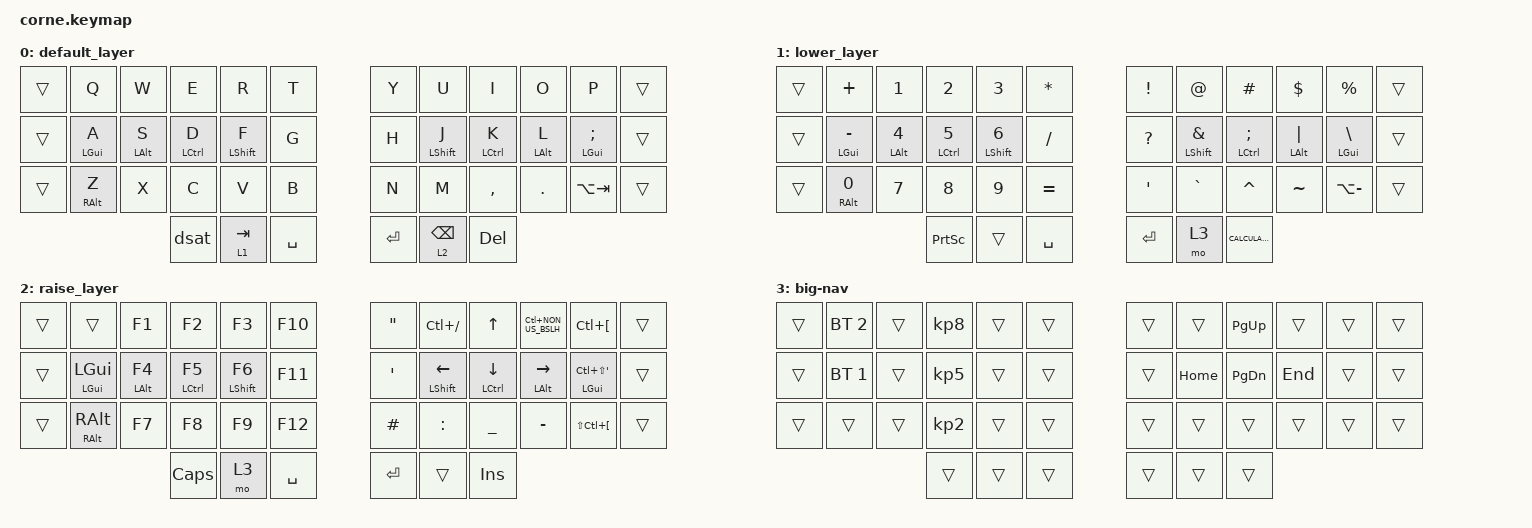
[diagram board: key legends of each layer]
/*
 * Copyright (c) 2020 The ZMK Contributors
 *
 * SPDX-License-Identifier: MIT
 */

#include <behaviors.dtsi>
#include <dt-bindings/zmk/bt.h>
#include <dt-bindings/zmk/keys.h>

/ {
    behaviors {
        hml: hml {
            compatible = "zmk,behavior-hold-tap";
            label = "HML";
            bindings = <&kp>, <&kp>;

            #binding-cells = <2>;
            tapping-term-ms = <280>;
            quick-tap-ms = <175>;
            require-prior-idle-ms = <75>;
            flavor = "balanced";
            hold-trigger-on-release;
            hold-trigger-key-positions = <6 7 8 9 10 11 18 19 20 21 22 23 30 31 32 33 34 35 39 40 41 36 37 38>;
        };

        hmr: hmr {
            compatible = "zmk,behavior-hold-tap";
            label = "HMR";
            bindings = <&kp>, <&kp>;

            #binding-cells = <2>;
            tapping-term-ms = <280>;
            quick-tap-ms = <175>;
            require-prior-idle-ms = <75>;
            flavor = "balanced";
            hold-trigger-on-release;
            hold-trigger-key-positions = <39 40 41 0 1 2 4 5 12 13 14 15 16 17 24 25 26 27 28 29 36 37 38 3>;
        };

        dsat: dsat {
            compatible = "zmk,behavior-tap-dance";
            label = "DOUBLE SUPER ALT TAB";
            #binding-cells = <0>;
            bindings = <&kp LGUI>, <&kp LA(TAB)>;
        };
    };

    combos {
        compatible = "zmk,combos";

        esc {
            bindings = <&kp ESC>;
            key-positions = <1 2>;
            layers = <0>;
            timeout-ms = <20>;
        };

        open-parenthesis {
            bindings = <&kp LPAR>;
            key-positions = <8 9>;
            timeout-ms = <20>;
        };

        close-parenthesis {
            bindings = <&kp RPAR>;
            key-positions = <10 9>;
            timeout-ms = <20>;
        };

        open-brackets {
            bindings = <&kp LEFT_BRACKET>;
            key-positions = <20 21>;
            timeout-ms = <20>;
        };

        close-brackets {
            bindings = <&kp RIGHT_BRACKET>;
            key-positions = <22 21>;
            timeout-ms = <20>;
        };

        open-braces {
            bindings = <&kp LEFT_BRACE>;
            key-positions = <32 33>;
            timeout-ms = <20>;
        };

        close-braces {
            bindings = <&kp RIGHT_BRACE>;
            key-positions = <33 34>;
            timeout-ms = <20>;
        };

        copy {
            bindings = <&kp LC(C)>;
            key-positions = <26 27>;
            timeout-ms = <20>;
        };

        paste {
            bindings = <&kp LC(V)>;
            key-positions = <27 28>;
            timeout-ms = <20>;
        };

        workspace_up {
            bindings = <&kp LG(PAGE_UP)>;
            key-positions = <3 4>;
            timeout-ms = <20>;
        };

        workspace_down {
            bindings = <&kp LG(PAGE_DOWN)>;
            key-positions = <4 5>;
            timeout-ms = <20>;
        };

        tab_previous {
            bindings = <&kp LC(PAGE_UP)>;
            key-positions = <15 16>;
            timeout-ms = <20>;
        };

        tab_next {
            bindings = <&kp LC(PAGE_DOWN)>;
            key-positions = <16 17>;
            timeout-ms = <20>;
        };

        workspace_shift_up {
            bindings = <&kp LG(LS(PAGE_UP))>;
            key-positions = <4 37 3>;
            timeout-ms = <20>;
        };

        workspace_shift_down {
            bindings = <&kp LG(LS(PAGE_DOWN))>;
            key-positions = <37 4 5>;
            timeout-ms = <20>;
        };

        tab_shift_previous {
            bindings = <&kp LC(LS(PAGE_UP))>;
            key-positions = <15 16 37>;
            timeout-ms = <20>;
        };

        tab_shift_next {
            bindings = <&kp LC(LS(PAGE_DOWN))>;
            key-positions = <16 17 37>;
            timeout-ms = <20>;
        };

        move-window-left {
            bindings = <&kp LG(LS(LEFT_ARROW))>;
            key-positions = <6 7>;
            timeout-ms = <20>;
        };

        move-window-right {
            bindings = <&kp LS(LG(RIGHT_ARROW))>;
            key-positions = <7 8>;
            timeout-ms = <20>;
        };

        back {
            bindings = <&kp LA(LEFT_ARROW)>;
            key-positions = <18 19>;
            timeout-ms = <20>;
        };

        forward {
            bindings = <&kp LA(RIGHT_ARROW)>;
            key-positions = <19 20>;
            timeout-ms = <20>;
        };

        volume-up {
            bindings = <&kp K_VOLUME_UP>;
            key-positions = <1 13>;
            timeout-ms = <20>;
        };

        volume-down {
            bindings = <&kp K_VOLUME_DOWN>;
            key-positions = <13 25>;
            timeout-ms = <20>;
        };

        mute {
            bindings = <&kp K_MUTE>;
            key-positions = <25 26>;
            timeout-ms = <20>;
        };

        move-window-up {
            bindings = <&kp LS(LG(UP_ARROW))>;
            key-positions = <10 22>;
            timeout-ms = <20>;
        };

        move-window-down {
            bindings = <&kp LS(LG(DOWN_ARROW))>;
            key-positions = <22 34>;
            timeout-ms = <20>;
        };
    };

    keymap {
        compatible = "zmk,keymap";

        default_layer {
            // -----------------------------------------------------------------------------------------
            // |  TAB |  Q  |  W  |  E  |  R  |  T  |   |  Y  |  U   |  I  |  O  |  P  | BKSP |
            // | CTRL |  A  |  S  |  D  |  F  |  G  |   |  H  |  J   |  K  |  L  |  ;  |  '   |
            // | SHFT |  Z  |  X  |  C  |  V  |  B  |   |  N  |  M   |  ,  |  .  |  /  | ESC  |
            //                    | GUI | LWR | SPC |   | ENT | RSE  | ALT |

            bindings = <
&trans  &kp Q        &kp W        &kp E         &kp R         &kp T        &kp Y    &kp U            &kp I         &kp O        &kp P           &trans
&trans  &hml LGUI A  &hml LALT S  &hml LCTRL D  &hml LSHFT F  &kp G        &kp H    &hmr LSHFT J     &hmr LCTRL K  &hmr LALT L  &hmr LGUI SEMI  &trans
&trans  &hml RALT Z  &kp X        &kp C         &kp V         &kp B        &kp N    &kp M            &kp COMMA     &kp DOT      &kp LA(TAB)     &trans
                                  &dsat         &lt 1 TAB     &kp SPACE    &kp RET  &lt 2 BACKSPACE  &kp DELETE
            >;
        };

        lower_layer {
            // -----------------------------------------------------------------------------------------
            // |  TAB |  1  |  2  |  3  |  4  |  5  |   |  6  |  7  |  8  |  9  |  0  | BKSP |
            // | BTCLR| BT1 | BT2 | BT3 | BT4 | BT5 |   | LFT | DWN |  UP | RGT |     |      |
            // | SHFT |     |     |     |     |     |   |     |     |     |     |     |      |
            //                    | GUI |     | SPC |   | ENT |     | ALT |

            bindings = <
&trans  &kp PLUS            &kp NUMBER_1        &kp NUMBER_2         &kp NUMBER_3         &kp ASTERISK    &kp EXCLAMATION   &kp AT_SIGN           &kp HASH          &kp DOLLAR      &kp PERCENT          &trans
&trans  &hml LGUI MINUS     &hml LALT NUMBER_4  &hml LCTRL NUMBER_5  &hml LSHFT NUMBER_6  &kp SLASH       &kp QUESTION      &hmr LSHFT AMPERSAND  &hmr LCTRL SEMI   &hmr LALT PIPE  &hmr LGUI BACKSLASH  &trans
&trans  &hml RALT NUMBER_0  &kp NUMBER_7        &kp NUMBER_8         &kp NUMBER_9         &kp EQUAL       &kp SINGLE_QUOTE  &kp GRAVE             &kp CARET         &kp TILDE       &kp LA(MINUS)        &trans
                                                &kp PRINTSCREEN      &trans               &kp SPACE       &kp RET           &mo 3                 &kp K_CALCULATOR
            >;
        };

        raise_layer {
            // -----------------------------------------------------------------------------------------
            // |  TAB |  !  |  @  |  #  |  $  |  %  |   |  ^  |  &  |  *  |  (  |  )  | BKSP |
            // | CTRL |     |     |     |     |     |   |  -  |  =  |  [  |  ]  |  \  |  `   |
            // | SHFT |     |     |     |     |     |   |  _  |  +  |  {  |  }  | "|" |  ~   |
            //                    | GUI |     | SPC |   | ENT |     | ALT |

            bindings = <
&trans  &trans          &kp F1        &kp F2         &kp F3         &kp F10      &kp DOUBLE_QUOTES  &kp LC(SLASH)          &kp UP_ARROW           &kp LC(NON_US_BSLH)    &kp LC(LEFT_BRACKET)            &trans
&trans  &hml LGUI LGUI  &hml LALT F4  &hml LCTRL F5  &hml LSHFT F6  &kp F11      &kp SINGLE_QUOTE   &hmr LSHFT LEFT_ARROW  &hmr LCTRL DOWN_ARROW  &hmr LALT RIGHT_ARROW  &hmr LGUI LC(LS(SINGLE_QUOTE))  &trans
&trans  &hml RALT RALT  &kp F7        &kp F8         &kp F9         &kp F12      &kp HASH           &kp COLON              &kp UNDER              &kp MINUS              &kp LS(LC(LEFT_BRACKET))        &trans
                                      &kp CAPSLOCK   &mo 3          &kp SPACE    &kp RET            &trans                 &kp INSERT
            >;
        };

        big-nav {
            bindings = <
&trans  &bt BT_SEL 2  &trans  &kp KP_NUMBER_8  &trans  &trans    &trans  &trans    &kp PG_UP      &trans   &trans  &trans
&trans  &bt BT_SEL 1  &trans  &kp KP_NUMBER_5  &trans  &trans    &trans  &kp HOME  &kp PAGE_DOWN  &kp END  &trans  &trans
&trans  &trans        &trans  &kp KP_NUMBER_2  &trans  &trans    &trans  &trans    &trans         &trans   &trans  &trans
                              &trans           &trans  &trans    &trans  &trans    &trans
            >;
        };
    };
};
